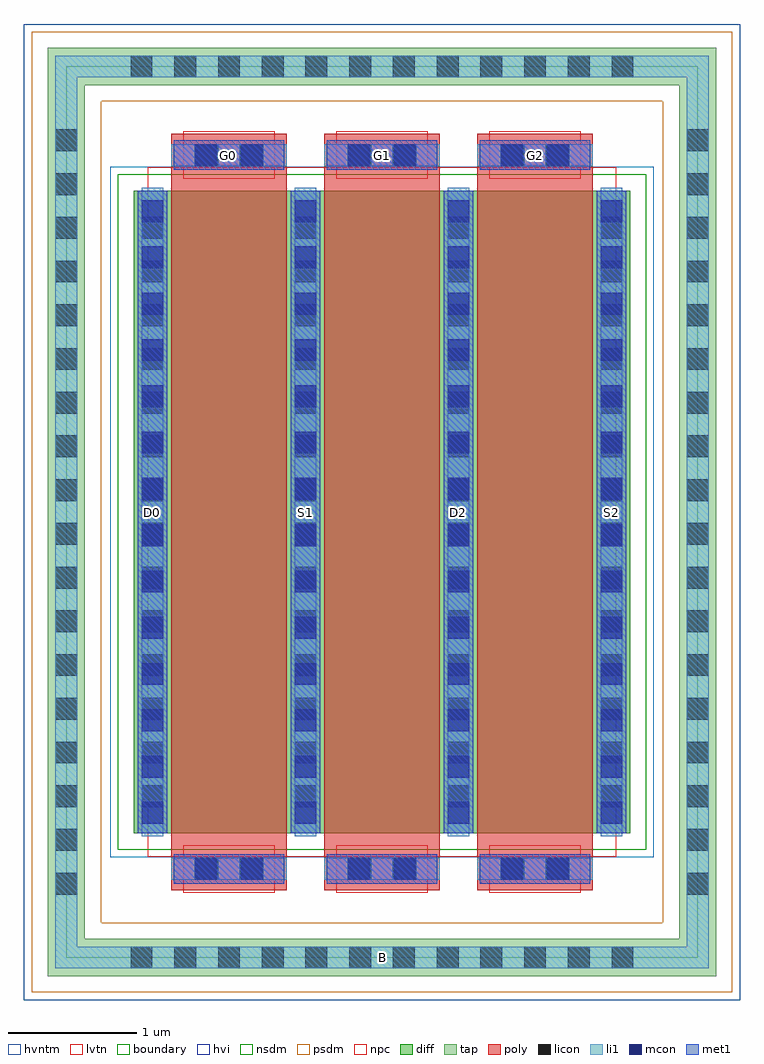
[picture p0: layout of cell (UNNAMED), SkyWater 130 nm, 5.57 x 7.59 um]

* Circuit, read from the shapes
.subckt (UNNAMED) B D0 D2 G0 G1 G2 S1 S2
XM1 S1 G0 D0 B sky130_fd_pr__nfet_05v0_nvt w=5 l=0.9
XM2 D2 G1 S1 B sky130_fd_pr__nfet_05v0_nvt w=5 l=0.9
XM3 S2 G2 D2 B sky130_fd_pr__nfet_05v0_nvt w=5 l=0.9
.ends

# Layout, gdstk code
import gdstk
lib = gdstk.Library(unit=1e-6, precision=1e-09)
def R(c, l, rs):  # rectangles x0, y0, x1, y1
    for r in rs: c.add(gdstk.rectangle(r[:2], r[2:], *l))
def A(c, l, x, y, w, h, nx, ny, dx, dy):  # array of equal rectangles
    R(c, l, [(x+i*dx, y+j*dy, x+i*dx+w, y+j*dy+h) for i in range(nx) for j in range(ny)])
diff = (65, 20)
tap = (65, 44)
poly = (66, 20)
licon = (66, 44)
li1 = (67, 20)
mcon = (67, 44)
met1 = (68, 20)
hvi = (75, 20)
nsdm = (93, 44)
psdm = (94, 20)
npc = (95, 20)
hvntm = (125, 20)
lvtn = (125, 44)
boundary = (235, 4)

c__unnamed_ = lib.new_cell('(UNNAMED)')
R(c__unnamed_, diff, [(-1.93,-2.5,1.93,2.5)])
R(c__unnamed_, tap, [(-2.6,-3.61,2.6,-3.32), (-2.6,-3.32,-2.31,3.32), (2.31,-3.32,2.6,3.32), (-2.6,3.32,2.6,3.61)])
A(c__unnamed_, poly, -1.64, -2.94, 0.9, 5.88, 3, 1, 1.19, 0)
A(c__unnamed_, licon, -1.955, -3.55, 0.17, 0.17, 12, 2, 0.34, 6.93)
A(c__unnamed_, licon, -2.54, -2.975, 0.17, 0.17, 1, 18, 0, 0.34)
A(c__unnamed_, licon, 2.37, -2.975, 0.17, 0.17, 1, 18, 0, 0.34)
A(c__unnamed_, licon, -1.87, -2.295, 0.17, 0.17, 4, 14, 1.19, 0.34)
R(c__unnamed_, licon, [(-1.445,-2.86,-1.275,-2.69), (-1.105,-2.86,-0.935,-2.69), (-0.255,-2.86,-0.085,-2.69), (0.085,-2.86,0.255,-2.69), (0.935,-2.86,1.105,-2.69), (1.275,-2.86,1.445,-2.69), (-1.445,2.69,-1.275,2.86), (-1.105,2.69,-0.935,2.86), (-0.255,2.69,-0.085,2.86), (0.085,2.69,0.255,2.86), (0.935,2.69,1.105,2.86), (1.275,2.69,1.445,2.86)])
A(c__unnamed_, li1, -1.64, -2.86, 0.9, 0.17, 3, 2, 1.19, 5.55)
A(c__unnamed_, li1, -1.87, -2.52, 0.17, 5.04, 4, 1, 1.19, 0)
R(c__unnamed_, li1, [(-2.54,-3.55,2.54,-3.38), (-2.54,-3.38,-2.37,3.38), (2.37,-3.38,2.54,3.38), (-2.54,3.38,2.54,3.55)])
A(c__unnamed_, mcon, -1.87, -2.425, 0.17, 0.17, 4, 14, 1.19, 0.36)
R(c__unnamed_, mcon, [(-1.455,-2.86,-1.285,-2.69), (-1.095,-2.86,-0.925,-2.69), (-0.265,-2.86,-0.095,-2.69), (0.095,-2.86,0.265,-2.69), (0.925,-2.86,1.095,-2.69), (1.285,-2.86,1.455,-2.69), (-1.455,2.69,-1.285,2.86), (-1.095,2.69,-0.925,2.86), (-0.265,2.69,-0.095,2.86), (0.095,2.69,0.265,2.86), (0.925,2.69,1.095,2.86), (1.285,2.69,1.455,2.86)])
A(c__unnamed_, met1, -1.62, -2.89, 0.86, 0.23, 3, 2, 1.19, 5.55)
A(c__unnamed_, met1, -1.9, -2.5, 0.23, 5, 4, 1, 1.19, 0)
R(c__unnamed_, hvi, [(-2.785,-3.795,2.785,3.795)])
R(c__unnamed_, nsdm, [(-2.055,-2.625,2.055,2.625)])
R(c__unnamed_, psdm, [(-2.725,-3.735,2.725,-3.195), (-2.725,-3.195,-2.185,3.195), (2.185,-3.195,2.725,3.195), (-2.725,3.195,2.725,3.735)])
A(c__unnamed_, npc, -1.545, -2.96, 0.71, 0.37, 3, 2, 1.19, 5.55)
R(c__unnamed_, hvntm, [(-2.115,-2.685,2.115,2.685)])
R(c__unnamed_, lvtn, [(-1.82,-2.68,1.82,2.68)])
R(c__unnamed_, boundary, [(-2.455,-3.465,2.455,3.465)])
c__unnamed_.add(gdstk.Label('B', (0,-3.465), layer=67, texttype=5))
c__unnamed_.add(gdstk.Label('D0', (-1.785,0), layer=67, texttype=5))
c__unnamed_.add(gdstk.Label('G0', (-1.19,2.775), layer=67, texttype=5))
c__unnamed_.add(gdstk.Label('S1', (-0.595,0), layer=67, texttype=5))
c__unnamed_.add(gdstk.Label('G1', (0,2.775), layer=67, texttype=5))
c__unnamed_.add(gdstk.Label('D2', (0.595,0), layer=67, texttype=5))
c__unnamed_.add(gdstk.Label('S2', (1.785,0), layer=67, texttype=5))
c__unnamed_.add(gdstk.Label('G2', (1.19,2.775), layer=67, texttype=5))

lib.write_gds('_UNNAMED_.gds')
